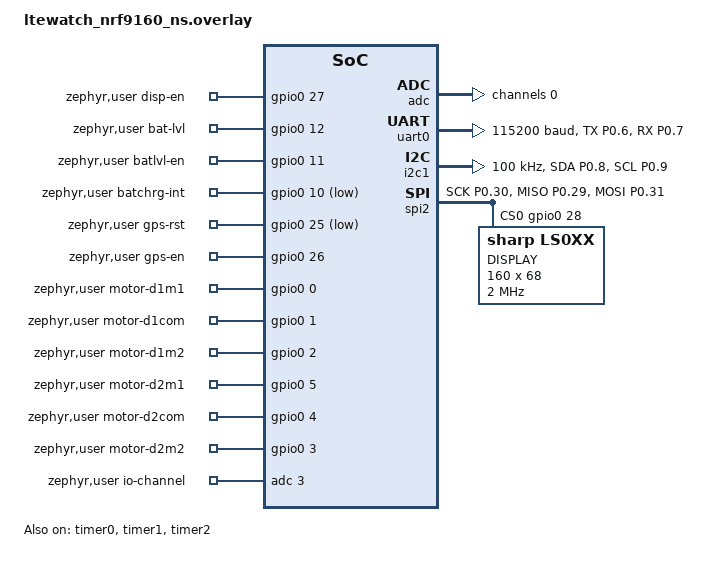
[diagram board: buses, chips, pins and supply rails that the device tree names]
// To get started, press Ctrl+Space to bring up the completion menu and view the available nodes.

// You can also use the buttons in the sidebar to perform actions on nodes.
// Actions currently available include:

// * Enabling / disabling the node
// * Adding the bus to a bus
// * Removing the node
// * Connecting ADC channels

// For more help, browse the DeviceTree documentation at https://docs.zephyrproject.org/latest/guides/dts/index.html
// You can also visit the nRF DeviceTree extension documentation at https://nrfconnect.github.io/vscode-nrf-connect/devicetree/nrfdevicetree.html
/ {
	chosen {
		zephyr,display = &ls0xx;
	};

};

// ADC

/ {
	zephyr,user {
		io-channels = <&adc 3>; // P0.16 = AIN3
		// Display
		disp-en-gpios = <&gpio0 27 GPIO_ACTIVE_HIGH>;
		// Battery Manager
		bat-lvl-gpios	 = <&gpio0 12 GPIO_ACTIVE_HIGH>;
		batlvl-en-gpios   = <&gpio0 11 GPIO_ACTIVE_HIGH>;
		batchrg-int-gpios = <&gpio0 10 GPIO_ACTIVE_LOW>;
		// GNSS Receiver
		gps-rst-gpios = <&gpio0 25 GPIO_ACTIVE_LOW>;
		gps-en-gpios  = <&gpio0 26 GPIO_ACTIVE_HIGH>;
		// Clock Motors
		motor-max-number  = <3>;
		motor-d1m1-gpios  = <&gpio0 0 GPIO_ACTIVE_HIGH>;
		motor-d1com-gpios = <&gpio0 1 GPIO_ACTIVE_HIGH>;
		motor-d1m2-gpios  = <&gpio0 2 GPIO_ACTIVE_HIGH>;
		motor-d2m1-gpios  = <&gpio0 5 GPIO_ACTIVE_HIGH>;
		motor-d2com-gpios = <&gpio0 4 GPIO_ACTIVE_HIGH>;
		motor-d2m2-gpios  = <&gpio0 3 GPIO_ACTIVE_HIGH>;
		//Pin Shared with led0..2 so already defined
		//motor6-gpios = <&gpio0 15 GPIO_ACTIVE_HIGH>;
		//motor7-gpios = <&gpio0 14 GPIO_ACTIVE_HIGH>;
		//motor8-gpios = <&gpio0 13 GPIO_ACTIVE_HIGH>;
		// Led
		led-max-number  = <3>;
		// Button
		button-max-number  = <3>;
	 };

	 aliases {
		motord3m1  = &led0;
		motord3com = &led1;
		motord3m2  = &led2;
	};
};


&adc {
	#address-cells = <1>;
	#size-cells = <0>;
    status = "okay";

	channel@0 {
		reg = <0>;
		zephyr,gain = "ADC_GAIN_1_5";
		zephyr,reference = "ADC_REF_INTERNAL";
		zephyr,acquisition-time = <ADC_ACQ_TIME_DEFAULT>;
		zephyr,input-positive = <NRF_SAADC_AIN3>;  // P0.16 = AIN3
		zephyr,resolution = <12>;
	};
};

&gpiote {
	status = "okay";
};

&gpio0 {
    status = "okay";
};

&uart0 {
	status = "okay";
	current-speed = <115200>;
	pinctrl-0 = <&uart0_default>;
	pinctrl-1 = <&uart0_sleep>;
	pinctrl-names = "default", "sleep";
};

&timer0 {
	status = "okay";
};

&timer1 {
	status = "okay";
};

&timer2 {
	status = "okay";
};

&i2c1 {
    compatible = "nordic,nrf-twim";
	status = "okay";
    pinctrl-0 = <&i2c1_default>;
    /* sleep state (only applicable if CONFIG_PM_DEVICE=y) */
    pinctrl-1 = <&i2c1_sleep>;
    /* state assigned to each pinctrl-N property by index */
    pinctrl-names = "default", "sleep";
    clock-frequency = <I2C_BITRATE_STANDARD>;
};

&i2c2 {
    status = "disabled";
};

&spi3 {
    status = "disabled";
};

&spi2 {
	compatible = "nordic,nrf-spim";
	status = "okay";
    cs-gpios = <&gpio0 28 GPIO_ACTIVE_HIGH>, 	//Display scs
				<&gpio0 20 GPIO_ACTIVE_LOW>;	//Accelerometer scs
	pinctrl-0 = <&spi2_default>;
	pinctrl-1 = <&spi2_sleep>;
	pinctrl-names = "default", "sleep";
	ls0xx: ls0xx@0 {
		compatible = "sharp,ls0xx";
		label = "DISPLAY";
		spi-max-frequency = <2000000>;
		width = <160>;
		height = <68>;
		reg = <0>;
	};
};

&pinctrl {

	uart0_default: uart0_default {
		group1 {
			psels = <NRF_PSEL(UART_TX, 0, 6)>;
		};
		group2 {
			psels = <NRF_PSEL(UART_RX, 0, 7)>;
			bias-pull-up;
		};
	};

	uart0_sleep: uart0_sleep {
		group1 {
			psels = <NRF_PSEL(UART_TX, 0, 6)>,
				<NRF_PSEL(UART_RX, 0, 7)>;
			low-power-enable;
		};
	};

    /* configuration for i2c1 device, default state */
	i2c1_default: i2c1_default {
		group1 {
			psels = <NRF_PSEL(TWIM_SDA, 0, 8)>,
				<NRF_PSEL(TWIM_SCL, 0, 9)>;
		};
	};

	i2c1_sleep: i2c1_sleep {
		group1 {
			psels = <NRF_PSEL(TWIM_SDA, 0, 8)>,
				<NRF_PSEL(TWIM_SCL, 0, 9)>;
			low-power-enable;
		};
	};

	spi2_default: spi2_default {
		group1 {
			psels = <NRF_PSEL(SPIM_SCK, 0, 30)>,
					<NRF_PSEL(SPIM_MISO, 0, 29)>,
					<NRF_PSEL(SPIM_MOSI, 0, 31)>;
		};
	};

	spi2_sleep: spi2_sleep {
		group1 {
			psels = <NRF_PSEL(SPIM_SCK, 0, 30)>,
					<NRF_PSEL(SPIM_MISO, 0, 29)>,
					<NRF_PSEL(SPIM_MOSI, 0, 31)>;
			low-power-enable;
		};
	};
};
